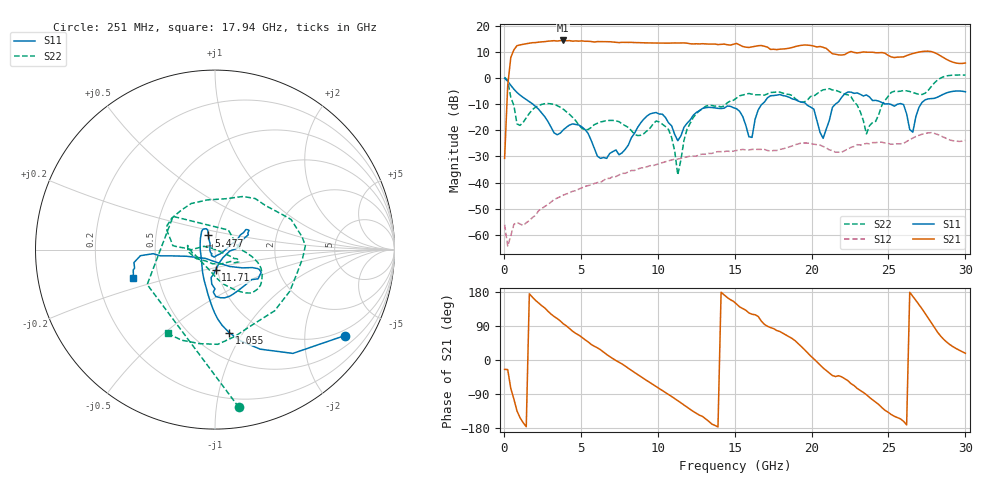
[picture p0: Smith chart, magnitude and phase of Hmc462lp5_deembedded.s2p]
!Hittite Microwave Corporation
!20 Alpha Rd
!Chelmsford, MA 01824
!Tel: 978-250-3343
!Fax: 978-250-3373
!Device: HMC462LP3, 2 - 20 GHz GaAs pHEMT MMIC LNA  in leadless QFN SMT package
!Misc: Data taken on a part mounted evaluation PCB 108336-1,Bias: +5VDC
# MHZ S MA R 50
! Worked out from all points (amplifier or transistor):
!   150 points, 50 MHz to 30 GHz, reference 50 ohm
!   highest |S21| = 14.3 dB at 3.869 GHz (marker M1)
!   |S21| within 3 dB of that: 728.8 MHz to 17.24 GHz (16.51 GHz wide, 184 % of centre) (the widest 1 of 2)
!   unconditionally stable (mu >= 1): 88.4 MHz to 27.71 GHz
!   at 5.075 GHz: K = 12.04, MAG = 14.3 dB, |S12| = -42.0 dB
!   at 15.13 GHz: K = 2.08, MAG = 14.6 dB, |S12| = -27.7 dB
!   at 30 GHz: K = -0.85, MSG = 14.8 dB, |S12| = -23.9 dB
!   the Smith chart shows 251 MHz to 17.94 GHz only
!   S11 on the Smith chart (normalised r, x): 251 MHz: 0.81, -3.12; 1.055 GHz: 0.73, -0.87; 5.477 GHz: 0.92, +0.15; 11.71 GHz: 0.98, -0.23; 17.94 GHz: 0.36, -0.15
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50  0.985 -7.7  0.029 -24.7  0.001566 -80.4  1.028 -15.5
251.007  0.867 -33.6  0.715 -25.3  0.0006066 -10.8  0.889 -81.4
653.02  0.609 -65.6  3.439 -102.9  0.001587 -146.5  0.298 141.6
1055.034  0.469 -80.3  4.285 -152.4  0.001612 131.3  0.124 13.2
2261.074  0.252 -99.0  4.834 150.3  0.002888 105.0  0.296 -27.5
3869.128  0.102 142.9  5.21 95.3  0.005751 67.1  0.252 -63.3
5075.168  0.116 110.4  5.113 59.9  0.007935 44.5  0.109 -114.4
5477.181  0.087 114.7  5.024 47.7  0.008737 36.6  0.103 -149.5
7688.255  0.037 -41.4  4.8 -10.5  0.015 -5.9  0.132 -167.2
10100.34  0.204 26.5  4.65 -75.1  0.023 -59.8  0.144 -23.7
11708.39  0.114 -88.5  4.672 -118.5  0.03 -100.3  0.064 163.5
13517.45  0.272 -72.0  4.431 -169.1  0.036 -145.3  0.298 144.0
15125.5  0.258 -24.1  4.57 147.7  0.041 174.9  0.414 29.4
17939.6  0.481 -161.0  3.552 75.2  0.043 107.9  0.536 -119.3
19145.64  0.36 -115.5  4.11 42.9  0.055 76.2  0.365 149.8
20150.67  0.253 -88.6  4.059 3.0  0.054 36.2  0.449 33.6
20954.7  0.105 132.2  3.681 -27.7  0.046 10.2  0.604 -32.2
23366.78  0.451 124.8  3.142 -85.6  0.054 -31.7  0.153 -161.5
25175.84  0.311 130.9  2.529 -143.9  0.054 -83.6  0.528 171.8
26783.89  0.184 -48.0  3.034 157.2  0.076 -116.7  0.504 172.6
27788.93  0.402 -51.3  3.189 97.5  0.09 -141.7  0.688 102.1
30000  0.544 53.9  1.928 17.7  0.064 -145.4  1.136 96.6
